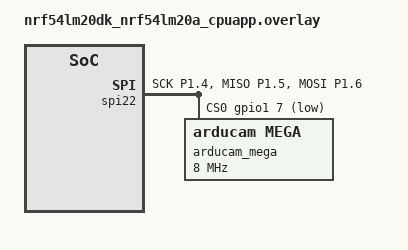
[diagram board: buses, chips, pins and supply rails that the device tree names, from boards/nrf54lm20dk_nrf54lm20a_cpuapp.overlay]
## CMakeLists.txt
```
#
# Copyright (c) 2025 Nordic Semiconductor
#
# SPDX-License-Identifier: LicenseRef-Nordic-5-Clause
#

cmake_minimum_required(VERSION 3.20.0)

find_package(Zephyr REQUIRED HINTS $ENV{ZEPHYR_BASE})
project(fomo)

target_sources(app PRIVATE src/main.c)

zephyr_compile_definitions(AXON_MODEL_NAME=${CONFIG_AXON_MODEL_NAME})
zephyr_include_directories(model/outputs)

add_subdirectory(src/drivers)

target_link_libraries(app PRIVATE local_drivers)
```

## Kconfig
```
#
# Copyright (c) 2025 Nordic Semiconductor ASA
#
# SPDX-License-Identifier: LicenseRef-Nordic-5-Clause
#

source "Kconfig.zephyr"

rsource "src/drivers/Kconfig"
```

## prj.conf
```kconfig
CONFIG_PRINTK=y
CONFIG_LOG=y
CONFIG_LOG_MODE_IMMEDIATE=y
CONFIG_CBPRINTF_FP_SUPPORT=y

CONFIG_AXONS_ML_SOURCE_INTERNAL_FULL=y
CONFIG_AXONS_ML=y
CONFIG_AXON_MODEL_NAME="ei_beer_vs_can"
CONFIG_AXON_INTERLAYER_BUFFER_SIZE=135000
# set to 0 for models that don't use psum buffer
CONFIG_AXON_PSUM_BUFFER_SIZE=0

CONFIG_MAIN_STACK_SIZE=4096
CONFIG_HEAP_MEM_POOL_SIZE=300

CONFIG_SPI=y
CONFIG_VIDEO=y
CONFIG_VIDEO_BUFFER_POOL_SZ_MAX=2048

# CONFIG_CONSOLE=n
# CONFIG_SERIAL=n
# CONFIG_LOG=n
```

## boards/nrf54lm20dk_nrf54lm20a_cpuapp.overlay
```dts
/*
 * Copyright (c) 2023 Nordic Semiconductor ASA
 *
 * SPDX-License-Identifier: Apache-2.0
 */

// Include Axons
&global_peripherals {
	axons: axons@56000 {
		compatible = "nordic,axons";
		reg = <0x56000 0x1000>;
		interrupts = <86 NRF_DEFAULT_IRQ_PRIORITY>;
		status = "okay";
	};
};

&pinctrl {
	spi22_default: spi22_default {
		group1 {
			psels = <NRF_PSEL(SPIM_SCK, 1, 4)>,
			        <NRF_PSEL(SPIM_MISO, 1, 5)>,
			        <NRF_PSEL(SPIM_MOSI, 1, 6)>;
			bias-pull-down;
		};
	};

	spi22_sleep: spi22_sleep {
		group1 {
			psels = <NRF_PSEL(SPIM_SCK, 1, 4)>,
			        <NRF_PSEL(SPIM_MISO, 1, 5)>,
			        <NRF_PSEL(SPIM_MOSI, 1, 6)>;
			bias-pull-down;
			low-power-enable;
		};
	};
};

&spi22 {
	compatible = "nordic,nrf-spim";
	status = "okay";
	pinctrl-0 = <&spi22_default>;
	pinctrl-1 = <&spi22_sleep>;
	pinctrl-names = "default", "sleep";
	overrun-character = <0x00>;
	zephyr,pm-device-runtime-auto;
	cs-gpios = <&gpio1 7 GPIO_ACTIVE_LOW>;

	arducam_mega: arducam-mega@0 {
		compatible = "arducam,mega";
		reg = <0>;
		spi-max-frequency = <8000000>;
		status = "okay";
	};
};
```

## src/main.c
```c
/*
 * Copyright (c) 2024, Nordic Semiconductor ASA. All Rights Reserved.
 *
 * The information contained herein is confidential property of Nordic Semiconductor ASA.
 * The use, copying, transfer or disclosure of such information is prohibited except by
 * express written agreement with Nordic Semiconductor ASA.
 */

#include <zephyr/device.h>
#include <zephyr/drivers/video.h>
#include <zephyr/kernel.h>
#include <zephyr/logging/log.h>
#include <zephyr/sys/slist.h>

#include <axon_driver.h>
#include <axon_nn_infer.h>
#include <axon_platform.h>
#include <axon_stringization.h>

LOG_MODULE_REGISTER(fomo, LOG_LEVEL_DBG);

#define AXON_MODEL_FILE_NAME_ROOT        axon_model_
#define AXON_MODEL_LAYERS_FILE_NAME_TAIL _layers_.h
#define AXON_MODEL_DOT_H                 _.h

#define AXON_MODEL_FILE_NAME                                                                       \
	STRINGIZE_3_CONCAT(AXON_MODEL_FILE_NAME_ROOT, AXON_MODEL_NAME, AXON_MODEL_DOT_H)

// generate structure name model_<model_name>
#define THE_REAL_MODEL_STRUCT_NAME(model_name) model_##model_name
#define THE_MODEL_STRUCT_NAME(model_name)      THE_REAL_MODEL_STRUCT_NAME(model_name)

#include AXON_MODEL_FILE_NAME

float f_features[9216]; // 96x96
int8_t q_features[9216];
const struct device *video;

struct box {
	size_t x;
	size_t y;
	size_t width;
	size_t height;
	float confidence;
	int channel;
	sys_snode_t node; // for storing in a sys_slist_t
};

struct record {
	uint8_t present_count;
	uint8_t missing_count;
	struct box box;
	sys_snode_t node; // for storing in a sys_slist_t
};

/**
 * Checks whether a new section overlaps with a box,
 * and if so, will **update the box**
 */
static bool extend_box(struct box *box, int x, int y, int width, int height, float confidence)
{
	bool is_overlapping = !(box->x + box->width < x || box->y + box->height < y ||
				box->x > x + width || box->y > y + height);

	if (!is_overlapping) {
		return false;
	}

	// if we overlap, but the x of the new box is lower than the x of the current box
	if (x < box->x) {
		// update x to match new box and make width larger (by the diff between the boxes)
		box->x = x;
		box->width += box->x - x;
	}
	// if we overlap, but the y of the new box is lower than the y of the current box
	if (y < box->y) {
		// update y to match new box and make height larger (by the diff between the boxes)
		box->y = y;
		box->height += box->y - y;
	}
	// if we overlap, and x+width of the new box is higher than the x+width of the current box
	if (x + width > box->x + box->width) {
		// just make the box wider
		box->width += (x + width) - (box->x + box->width);
	}
	// if we overlap, and y+height of the new box is higher than the y+height of the current box
	if (y + height > box->y + box->height) {
		// just make the box higher
		box->height += (y + height) - (box->y + box->height);
	}
	// if the new box has higher confidence, then override confidence of the whole box
	if (confidence > box->confidence) {
		box->confidence = confidence;
	}

	return true;
}

static void handle_detection(sys_slist_t *boxes, int x, int y, float vf, int channel)
{

	bool is_overlapping = false;

	struct box *box;
	SYS_SLIST_FOR_EACH_CONTAINER(boxes, box, node) {
		if (box->channel != channel) {
			continue;
		}

		if (extend_box(box, x, y, 1, 1, vf)) {
			is_overlapping = true;
			break;
		}
	}

	if (!is_overlapping) {
		struct box *box = k_malloc(sizeof(struct box));
		if (box == NULL) {
			LOG_ERR("Failed to allocate memory for box");
			return;
		}
		box->x = x;
		box->y = y;
		box->width = 1;
		box->height = 1;
		box->confidence = vf;
		box->channel = channel;
		sys_slist_append(boxes, &box->node);
	}
}

static void extract_features(float *output, size_t output_size, const uint8_t *input,
			     size_t input_size)
{
	__ASSERT_NO_MSG(output != NULL);
	__ASSERT_NO_MSG(input != NULL);

	// Pre-calculated integer coefficients (scaled by 65536)
	// 0.299 * 65536 / 31 ≈ 631
	// 0.587 * 65536 / 63 ≈ 611
	// 0.114 * 65536 / 31 ≈ 241
	const uint32_t R_COEFF = 631;
	const uint32_t G_COEFF = 611;
	const uint32_t B_COEFF = 241;
	const float SCALE = 1.0f / 65536.0f;

	size_t j = 0;
	size_t max_i = (input_size & ~1); // Ensure even number
	size_t max_j = output_size;

	for (size_t i = 0; i < max_i && j < max_j; i += 2) {
		// Load RGB565 value
		uint16_t rgb565 = (uint16_t)(input[i] << 8) | input[i + 1];

		// Extract components
		uint32_t r = (rgb565 >> 11) & 0x1F;
		uint32_t g = (rgb565 >> 5) & 0x3F;
		uint32_t b = rgb565 & 0x1F;

		// Integer calculation
		uint32_t gray = (R_COEFF * r) + (G_COEFF * g) + (B_COEFF * b);

		// Convert to float only once
		output[j++] = (float)gray * SCALE;
	}
}

static float dequantize(const axon_nn_compiled_model_struct *model, int8_t value)
{
	float f_value = (value - model->output_dequant_zp);
	f_value /= ((model->output_dequant_mult >> model->output_dequant_round) - 1);
	return f_value;
}

static void quantize_vector(int8_t *output, const float *vector, uint32_t vector_size,
			    uint32_t quant_mp, uint8_t quant_round, int8_t quant_zp)
{
	for (uint32_t i = 0; i < vector_size; i++) {
		output[i] = (int8_t)((uint32_t)(vector[i] * quant_mp) >> quant_round) + quant_zp;
	}
}

static void print_vector(const char *name, const int8_t *vector, uint32_t vector_size)
{
	LOG_INF("%s=[", name);
	for (uint32_t i = 0; i < vector_size; i++) {
		LOG_RAW("%4d, ", vector[i]);
		if (i % 16 == 15) {
			LOG_RAW("\n");
		}
	}
	LOG_RAW("\n]\n");
}

static void print_vector_f(const char *name, const float *vector, uint32_t vector_size)
{
	LOG_INF("%s=[", name);
	for (uint32_t i = 0; i < vector_size; i++) {
		LOG_RAW("%f, ", (double)vector[i]);
		if (i % 16 == 15) {
			LOG_RAW("\n");
		}
	}
	LOG_RAW("\n]\n");
}

static void print_model_output(const char *name, const axon_nn_compiled_model_struct *model)
{
	int8_t height = model->output_dimensions.height;
	int8_t width = model->output_dimensions.width;
	int8_t channel_cnt = model->output_dimensions.channel_cnt;

	float f_value;
	int8_t value;

	LOG_INF("%s:", name);

	for (int8_t c = 0; c < channel_cnt; c++) {
		LOG_RAW("Channel %d:\n", c);

		for (int8_t y = 0; y < height; y++) {
			for (int8_t x = 0; x < width; x++) {
				value = model->output_ptr[height * width * c + y * width + x];
				f_value = dequantize(model, value);
				LOG_RAW("% .2f (% 4d) ", (double)f_value, value);
			}
			LOG_RAW("\n");
		}

		LOG_RAW("\n");
	}
}

static void print_box(const struct box *box)
{
	static const char *const labels[] = {"background", "beer", "can"};
	LOG_INF("%s (%.2f) [x: %d, y: %d, width: %d, height: %d]", labels[box->channel],
		(double)box->confidence, box->x, box->y, box->width, box->height);
}

static int process_fomo_output(sys_slist_t *results, float threshold,
			       const axon_nn_compiled_model_struct *model)
{
	int8_t height = model->output_dimensions.height;
	int8_t width = model->output_dimensions.width;
	int8_t channel_cnt = model->output_dimensions.channel_cnt;

	for (int8_t c = 1; c < channel_cnt; c++) {
		for (int8_t y = 0; y < height; y++) {
			for (int8_t x = 0; x < width; x++) {
				int8_t value =
					model->output_ptr[height * width * c + y * width + x];
				float f_value = dequantize(model, value);
				if (f_value >= threshold) {
					handle_detection(results, x, y, f_value, c);
				}
			}
		}
	}

	return sys_slist_len(results);
}

static int calc_overlap_size(size_t x1, size_t s1, size_t x2, size_t s2)
{
	int left = MAX(x1, x2);
	int right = MIN(x1 + s1, x2 + s2);
	return right - left;
}

static void save_output_to_records(sys_slist_t *results, sys_slist_t *records)
{
	struct record *record, *safe_record;
	sys_snode_t *prev_r = NULL;

	// update existing records
	SYS_SLIST_FOR_EACH_CONTAINER_SAFE(records, record, safe_record, node) {
		struct box *box, *safe_box;
		sys_snode_t *prev_box_node = NULL;

		record->missing_count += 1;

		SYS_SLIST_FOR_EACH_CONTAINER_SAFE(results, box, safe_box, node) {
			bool same_channel = record->box.channel == box->channel;

			int box_area = box->width * box->height;
			int overlap_width = calc_overlap_size(box->x, box->width, record->box.x,
							      record->box.width);
			int overlap_height = calc_overlap_size(box->y, box->height, record->box.y,
							       record->box.height);

			bool small_adjacent_box =
				box_area == 1 && ((overlap_height == 0 && overlap_width >= 0) ||
						  (overlap_width == 0 && overlap_height >= 0));
			bool high_overlap = overlap_width * overlap_height >= 0.5 * box_area;

			if (same_channel && (small_adjacent_box || high_overlap)) {
				sys_slist_remove(results, prev_box_node, &box->node);
				record->box = *box;
				k_free(box);

				record->present_count = MIN(record->present_count + 1, 3);
				record->missing_count = 0;

				break;
			} else {
				prev_box_node = &box->node;
			}
		}

		if (record->missing_count >= 3) {
			sys_slist_remove(records, prev_r, &record->node);
			k_free(record);
		} else {
			prev_r = &record->node;
		}
	}

	struct box *box, *safe_box;

	// add new records
	SYS_SLIST_FOR_EACH_CONTAINER_SAFE(results, box, safe_box, node) {
		record = k_malloc(sizeof(struct record));
		if (record == NULL) {
			LOG_ERR("Failed to allocate memory for record");
			return;
		}
		record->present_count = 1;
		record->missing_count = 0;
		record->box = *box;
		sys_slist_append(records, &record->node);

		sys_slist_remove(results, NULL, &box->node);
		k_free(box);
	}
}

void take_picture(void)
{
	int err;
	struct video_buffer *vbuf;

	float *f_features_pos = f_features;
	uint32_t f_size_left = ARRAY_SIZE(f_features);

	err = video_dequeue(video, &vbuf, K_FOREVER);
	if (err) {
		LOG_ERR("Unable to dequeue video buf (%d)", err);
		return;
	}

	extract_features(f_features_pos, f_size_left, vbuf->buffer, vbuf->bytesused);
	f_features_pos += vbuf->bytesused / 2;
	f_size_left -= vbuf->bytesused / 2;

	vbuf->type = VIDEO_BUF_TYPE_OUTPUT;
	video_enqueue(video, vbuf);
	while (f_size_left != 0) {
		video_dequeue(video, &vbuf, K_FOREVER);

		extract_features(f_features_pos, f_size_left, vbuf->buffer, vbuf->bytesused);
		f_features_pos += vbuf->bytesused / 2;
		f_size_left -= vbuf->bytesused / 2;

		vbuf->type = VIDEO_BUF_TYPE_OUTPUT;
		video_enqueue(video, vbuf);
	}

	return;
}

void capture_timer_handler(struct k_timer *dummy);

K_SEM_DEFINE(data_sem, 0, 1);
K_TIMER_DEFINE(capture_timer, capture_timer_handler, NULL);

void capture_timer_handler(struct k_timer *dummy)
{
	k_sem_give(&data_sem);
}

void run_inference(void)
{
	LOG_INF("Start Platform!");
	AxonResultEnum result = axon_platform_init();
	if (result != kAxonResultSuccess) {
		LOG_ERR("axon_platform_init failed!");
	}

	void *axon_handle = axon_driver_get_handle();
	LOG_INF("Prepare and run Axon!");

	const axon_nn_compiled_model_struct *model = &THE_MODEL_STRUCT_NAME(AXON_MODEL_NAME);
	axon_nn_model_inference_wrapper_struct wrapper;

	if (axon_nn_model_init(&wrapper, model) < 0) {
		LOG_ERR("axon_nn_model_init failed!");
	}

	// need to be called twice because of axon driver internals
	axon_platform_vote_against_power();
	axon_platform_vote_against_power();

	k_timer_start(&capture_timer, K_NO_WAIT, K_MSEC(500));

	sys_slist_t results, records;
	sys_slist_init(&results);
	sys_slist_init(&records);

	while (true) {
		k_sem_take(&data_sem, K_FOREVER);

		video_stream_start(video, VIDEO_BUF_TYPE_OUTPUT);
		take_picture();
		video_stream_stop(video, VIDEO_BUF_TYPE_OUTPUT);

		// print_vector_f("input_features", f_features, ARRAY_SIZE(f_features));

		quantize_vector(q_features, f_features, ARRAY_SIZE(f_features),
				model->inputs[0].quant_mult, model->inputs[0].quant_round,
				model->inputs[0].quant_zp);

		// print_vector("quantized_features", q_features, ARRAY_SIZE(q_features));

		axon_platform_vote_for_power();

		uint32_t start = axon_platform_get_ticks();
		result = axon_nn_model_infer_sync(axon_handle, model, &(wrapper.cmd_buf_info),
						  q_features, ARRAY_SIZE(q_features));

		axon_platform_vote_against_power();

		uint32_t time =
			(axon_platform_get_ticks() - start) * 1000 / axon_platform_get_clk_hz();
		// LOG_INF("axon_nn_model_infer_sync took %d ms", time);

		if (result != kAxonResultSuccess) {
			LOG_ERR("axon_nn_model_infer_sync failed!\n");
		} else {
			// print_model_output("output", model);

			process_fomo_output(&results, 0.5, model);

			LOG_RAW("\n");
			LOG_INF("New prediction results:");

			if (sys_slist_is_empty(&results)) {
				LOG_INF("no prediction");
			}

			const struct box *box;
			SYS_SLIST_FOR_EACH_CONTAINER(&results, box, node) {
				print_box(box);
			}

			save_output_to_records(&results, &records);

			LOG_INF("Tracked results:");
			const struct record *record;
			SYS_SLIST_FOR_EACH_CONTAINER(&records, record, node) {
				if (record->present_count < 3) {
					continue;
				}

				print_box(&record->box);
			}
		}
	}

	LOG_INF("Inference complete");
	axon_platform_close();
}

int main(void)
{
	video = DEVICE_DT_GET(DT_NODELABEL(arducam_mega));

	if (!device_is_ready(video)) {
		LOG_ERR("Video device %s not ready.", video->name);
		return -1;
	}

	/* Alloc video buffers and enqueue for capture */
	struct video_buffer *buffers[2];
	for (int i = 0; i < ARRAY_SIZE(buffers); i++) {
		buffers[i] = video_buffer_alloc(1024, K_FOREVER);
		if (buffers[i] == NULL) {
			LOG_ERR("Unable to alloc video buffer");
			return -1;
		}
		buffers[i]->type = VIDEO_BUF_TYPE_OUTPUT;
		video_enqueue(video, buffers[i]);
	}

	run_inference();
	return 0;
}
```
